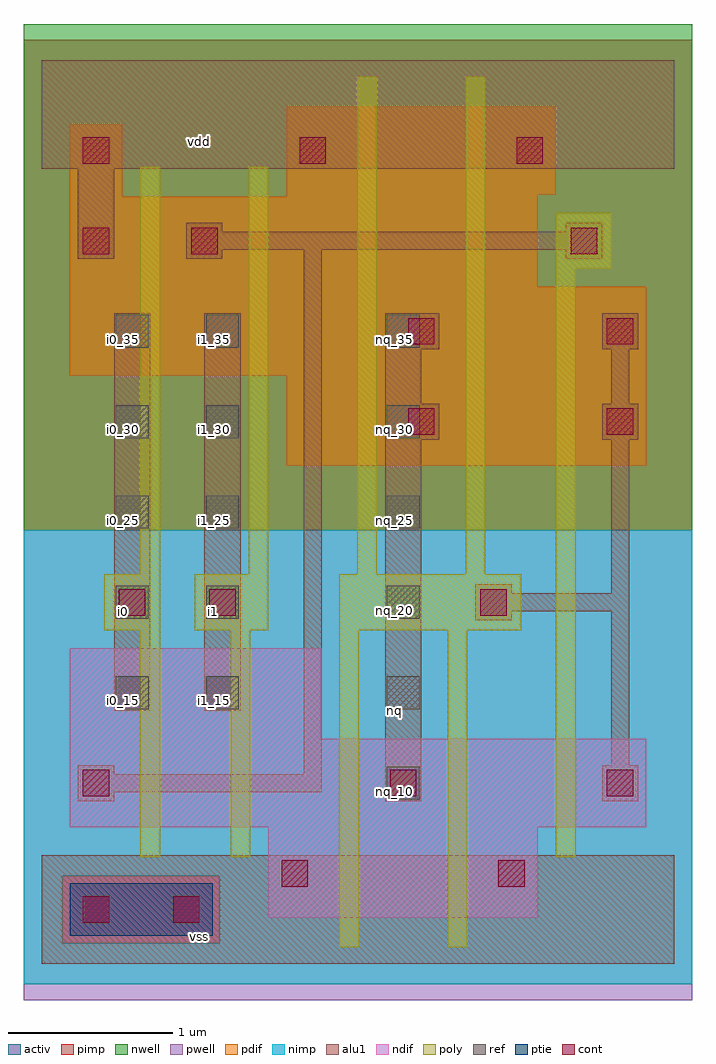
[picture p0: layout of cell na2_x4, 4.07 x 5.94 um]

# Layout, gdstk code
import gdstk
lib = gdstk.Library(unit=1e-6, precision=2.5e-09)
def R(c, l, rs):  # rectangles x0, y0, x1, y1
    for r in rs: c.add(gdstk.rectangle(r[:2], r[2:], *l))
def A(c, l, x, y, w, h, nx, ny, dx, dy):  # array of equal rectangles
    R(c, l, [(x+i*dx, y+j*dy, x+i*dx+w, y+j*dy+h) for i in range(nx) for j in range(ny)])
ndif = (3, 0)
pdif = (4, 0)
ptie = (6, 0)
ref = (24, 0)
cont = (25, 0)
pwell = (41, 0)
nwell = (42, 0)
activ = (43, 0)
pimp = (44, 0)
nimp = (45, 0)
poly = (46, 0)
alu1 = (49, 0)

na2_x4 = lib.new_cell('na2_x4')
R(na2_x4, ndif, [(1.38,0.28,3.02,0.83), (1.38,0.28,3.02,0.83), (0.17,0.83,3.68,1.37), (0.17,0.83,3.68,1.37), (0.17,1.37,1.7,1.92), (0.17,1.37,1.7,1.92)])
R(na2_x4, pdif, [(1.49,3.03,3.68,3.58), (1.49,3.03,3.68,3.58), (0.17,3.58,3.68,4.12), (0.17,3.58,3.68,4.12), (0.17,4.12,3.02,4.67), (0.17,4.12,3.02,4.67), (0.17,4.67,0.49,5.11), (0.17,4.67,0.49,5.11), (1.49,4.67,3.02,4.68), (1.49,4.67,3.02,4.68), (1.49,4.68,3.13,5.22), (1.49,4.68,3.13,5.22)])
R(na2_x4, ptie, [(0.17,0.17,1.04,0.49), (0.17,0.17,1.04,0.49)])
A(na2_x4, ref, 2.1, 1, 0.2, 0.2, 1, 6, 0, 0.55)
A(na2_x4, ref, 0.45, 1.55, 0.2, 0.2, 1, 5, 0, 0.55)
A(na2_x4, ref, 1, 1.55, 0.2, 0.2, 1, 5, 0, 0.55)
A(na2_x4, cont, 0.25, 4.87, 0.16, 0.16, 3, 1, 1.32, 0)
R(na2_x4, cont, [(0.25,0.25,0.41,0.41), (0.8,0.25,0.96,0.41), (1.46,0.47,1.62,0.63), (2.78,0.47,2.94,0.63), (0.25,1.02,0.41,1.18), (2.12,1.02,2.28,1.18), (3.44,1.02,3.6,1.18), (0.47,2.12,0.63,2.28), (1.02,2.12,1.18,2.28), (2.67,2.12,2.83,2.28), (2.23,3.22,2.39,3.38), (3.44,3.22,3.6,3.38), (2.23,3.77,2.39,3.93), (3.44,3.77,3.6,3.93), (0.25,4.32,0.41,4.48), (0.91,4.32,1.07,4.48), (3.22,4.32,3.38,4.48)])
R(na2_x4, pwell, [(-0.11,-0.22,3.96,2.64)])
R(na2_x4, nwell, [(-0.11,2.64,3.96,5.72)])
R(na2_x4, activ, [(0.17,0.17,1.04,0.49), (0.17,0.17,1.04,0.49), (1.38,0.28,3.02,0.83), (1.38,0.28,3.02,0.83), (0.17,0.83,3.68,1.37), (0.17,0.83,3.68,1.37), (0.17,1.37,1.7,1.92), (0.17,1.37,1.7,1.92), (1.49,3.03,3.68,3.58), (1.49,3.03,3.68,3.58), (0.17,3.58,3.68,4.12), (0.17,3.58,3.68,4.12), (0.17,4.12,3.02,4.67), (0.17,4.12,3.02,4.67), (0.17,4.67,0.49,5.11), (0.17,4.67,0.49,5.11), (1.49,4.67,3.02,4.68), (1.49,4.67,3.02,4.68), (1.49,4.68,3.13,5.22), (1.49,4.68,3.13,5.22)])
R(na2_x4, pimp, [(0.125,0.125,1.085,0.535), (-0.11,2.64,3.96,5.625)])
R(na2_x4, nimp, [(-0.11,-0.125,3.96,0.125), (-0.11,0.125,0.125,0.535), (1.085,0.125,3.96,0.535), (-0.11,0.535,3.96,2.64)])
R(na2_x4, poly, [(1.81,0.1,1.93,2.03), (2.47,0.1,2.59,2.03), (0.6,0.65,0.72,2.03), (1.15,0.65,1.27,2.03), (3.13,0.65,3.25,4.23), (0.38,2.03,0.72,2.37), (0.93,2.03,1.38,2.37), (1.81,2.03,2.92,2.37), (0.6,2.37,0.72,4.85), (1.26,2.37,1.38,4.85), (1.92,2.37,2.04,5.4), (2.58,2.37,2.7,5.4), (3.13,4.23,3.47,4.57)])
R(na2_x4, alu1, [(0,0,3.85,0.66), (0.22,0.99,0.44,1.045), (2.09,0.99,2.31,3.19), (3.41,0.99,3.63,1.21), (0.22,1.045,1.705,1.155), (0.22,1.155,0.44,1.21), (1.595,1.155,1.705,4.345), (3.465,1.21,3.575,2.145), (0.44,1.54,0.66,3.96), (0.99,1.54,1.21,3.96), (2.64,2.09,2.86,2.145), (2.64,2.145,3.575,2.255), (2.64,2.255,2.86,2.31), (3.465,2.255,3.575,3.19), (2.09,3.19,2.42,3.41), (3.41,3.19,3.63,3.41), (2.09,3.41,2.31,3.74), (3.465,3.41,3.575,3.74), (2.09,3.74,2.42,3.96), (3.41,3.74,3.63,3.96), (0.22,4.29,0.44,4.84), (0.88,4.29,1.1,4.345), (3.19,4.29,3.41,4.345), (0.88,4.345,3.41,4.455), (0.88,4.455,1.1,4.51), (3.19,4.455,3.41,4.51), (0,4.84,3.85,5.5)])
na2_x4.add(gdstk.Label('vss', (0.9625,0.165), layer=49, texttype=0))
na2_x4.add(gdstk.Label('nq', (2.145,1.54), layer=49, texttype=0))
na2_x4.add(gdstk.Label('i1', (1.045,2.145), layer=49, texttype=0))
na2_x4.add(gdstk.Label('i0', (0.495,2.145), layer=49, texttype=0))
na2_x4.add(gdstk.Label('vdd', (0.9625,5.005), layer=49, texttype=0))
na2_x4.add(gdstk.Label('i1_15', (1.05,1.6), layer=24, texttype=0))
na2_x4.add(gdstk.Label('i1_20', (1.05,2.15), layer=24, texttype=0))
na2_x4.add(gdstk.Label('i1_25', (1.05,2.7), layer=24, texttype=0))
na2_x4.add(gdstk.Label('i1_30', (1.05,3.25), layer=24, texttype=0))
na2_x4.add(gdstk.Label('i1_35', (1.05,3.8), layer=24, texttype=0))
na2_x4.add(gdstk.Label('i0_35', (0.5,3.8), layer=24, texttype=0))
na2_x4.add(gdstk.Label('i0_30', (0.5,3.25), layer=24, texttype=0))
na2_x4.add(gdstk.Label('i0_25', (0.5,2.7), layer=24, texttype=0))
na2_x4.add(gdstk.Label('i0_20', (0.5,2.15), layer=24, texttype=0))
na2_x4.add(gdstk.Label('i0_15', (0.5,1.6), layer=24, texttype=0))
na2_x4.add(gdstk.Label('nq_35', (2.15,3.8), layer=24, texttype=0))
na2_x4.add(gdstk.Label('nq_30', (2.15,3.25), layer=24, texttype=0))
na2_x4.add(gdstk.Label('nq_25', (2.15,2.7), layer=24, texttype=0))
na2_x4.add(gdstk.Label('nq_20', (2.15,2.15), layer=24, texttype=0))
na2_x4.add(gdstk.Label('nq_15', (2.15,1.6), layer=24, texttype=0))
na2_x4.add(gdstk.Label('nq_10', (2.15,1.05), layer=24, texttype=0))

lib.write_gds('na2_x4.gds')
